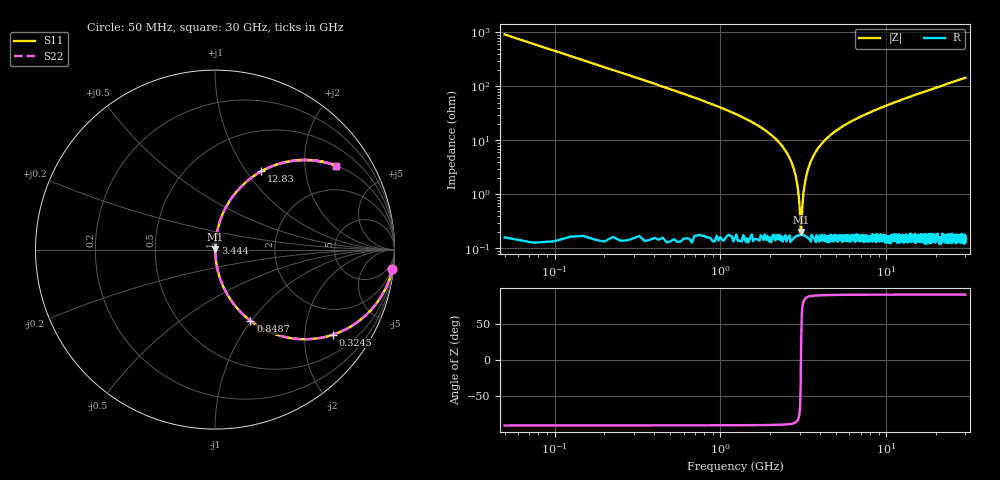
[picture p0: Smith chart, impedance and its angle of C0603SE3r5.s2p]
!	AVX Thin Film Operation 	Date: April 2014
!	Description: Accu-P® Series, Thin Film  SMD RF Capacitor
!	Part Number: 06031J3R5ABSTR
# MHZ S MA R 50
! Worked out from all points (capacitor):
!   1201 points, 50 MHz to 30 GHz, reference 50 ohm
!   read as one part in series: C = 3.5 pF near 199.8 MHz
!   lowest |Z| = 203 mohm at 3.07 GHz (marker M1)
!   series resonance near 3.06 GHz, so ESL is about 770 pH
!   S11 on the Smith chart (normalised r, x): 50 MHz: 1, -18; 324.5 MHz: 1.00, -2.77; 848.7 MHz: 1.00, -0.99; 3.444 GHz: 1.00, +0.07; 12.83 GHz: 1.00, +1.18; 30 GHz: 1.00, +2.88
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50  0.994 -6.3  0.109 83.7  0.109 83.7  0.994 -6.3
324.542  0.81 -35.8  0.585 54.1  0.585 54.1  0.81 -35.8
574.125  0.607 -52.5  0.794 37.3  0.794 37.3  0.607 -52.5
848.667  0.443 -63.5  0.895 26.3  0.895 26.3  0.443 -63.5
1422.708  0.243 -75.6  0.969 14.0  0.969 14.0  0.243 -75.6
2446  0.067 -84.8  0.996 3.8  0.996 3.8  0.067 -84.8
2745.5  0.032 -85.4  0.998 1.8  0.998 1.8  0.032 -85.4
2845.333  0.022 -84.7  0.998 1.2  0.998 1.2  0.022 -84.7
2945.167  0.011 -81.6  0.998 0.7  0.998 0.7  0.011 -81.6
3069.958  0.001833 32.3  0.998 -0.1  0.998 -0.1  0.001833 32.3
3169.792  0.011 81.0  0.998 -0.6  0.998 -0.6  0.011 81.0
3294.583  0.022 84.7  0.998 -1.3  0.998 -1.3  0.022 84.7
3444.333  0.035 85.5  0.998 -2.0  0.998 -2.0  0.035 85.5
4043.333  0.084 84.2  0.995 -4.8  0.995 -4.8  0.084 84.2
5041.667  0.153 80.6  0.987 -8.8  0.987 -8.8  0.153 80.6
7013.375  0.265 74.3  0.963 -15.4  0.963 -15.4  0.265 74.3
10058.29  0.405 65.9  0.913 -23.9  0.913 -23.9  0.405 65.9
12828.67  0.506 59.4  0.861 -30.4  0.861 -30.4  0.506 59.4
15025  0.573 54.9  0.819 -34.9  0.819 -34.9  0.573 54.9
20016.67  0.688 46.4  0.725 -43.5  0.725 -43.5  0.688 46.4
25033.29  0.767 39.8  0.641 -50.1  0.641 -50.1  0.767 39.8
30000  0.821 34.7  0.57 -55.2  0.57 -55.2  0.821 34.7
